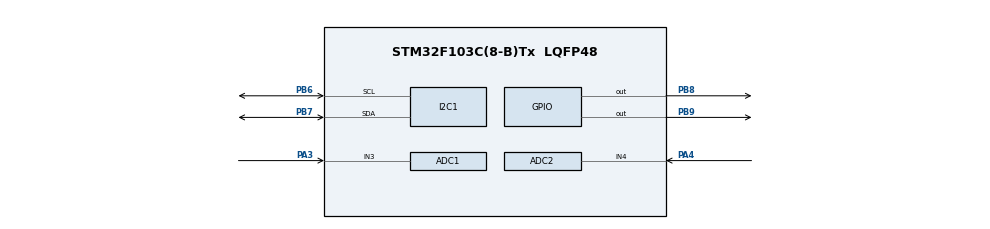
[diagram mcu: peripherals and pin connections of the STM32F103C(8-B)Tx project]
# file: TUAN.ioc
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ADC1.Channel-1\#ChannelRegularConversion=ADC_CHANNEL_3
ADC1.NbrOfConversionFlag=1
ADC1.Rank-1\#ChannelRegularConversion=1
ADC1.SamplingTime-1\#ChannelRegularConversion=ADC_SAMPLETIME_1CYCLE_5
ADC1.master=1
ADC2.Channel-0\#ChannelRegularConversion=ADC_CHANNEL_4
ADC2.NbrOfConversionFlag=1
ADC2.Rank-0\#ChannelRegularConversion=1
ADC2.SamplingTime-0\#ChannelRegularConversion=ADC_SAMPLETIME_1CYCLE_5
Mcu.Family=STM32F1
Mcu.Name=STM32F103C(8-B)Tx
Mcu.Package=LQFP48
NVIC.ADC1_2_IRQn=true\:0\:0\:false\:false\:true\:true\:true\:true
NVIC.PriorityGroup=NVIC_PRIORITYGROUP_4
PA13.Mode=Serial_Wire
PA13.Signal=SYS_JTMS-SWDIO
PA14.Mode=Serial_Wire
PA14.Signal=SYS_JTCK-SWCLK
PA3.Signal=ADCx_IN3
PA4.Signal=ADCx_IN4
PB6.Mode=I2C
PB6.Signal=I2C1_SCL
PB7.Mode=I2C
PB7.Signal=I2C1_SDA
PB8.Signal=GPIO_Output
PB9.Signal=GPIO_Output
PD0-OSC_IN.Mode=HSE-External-Oscillator
PD0-OSC_IN.Signal=RCC_OSC_IN
PD1-OSC_OUT.Mode=HSE-External-Oscillator
PD1-OSC_OUT.Signal=RCC_OSC_OUT
ProjectManager.HeapSize=0x200
ProjectManager.StackSize=0x400
ProjectManager.TargetToolchain=STM32CubeIDE
RCC.APB1Freq_Value=8000000
RCC.APB2Freq_Value=8000000
SH.ADCx_IN3.0=ADC1_IN3,IN3
SH.ADCx_IN4.0=ADC2_IN4,IN4
board=custom

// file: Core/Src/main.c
/* USER CODE BEGIN Header */
/**
  ******************************************************************************
  * @file           : main.c
  * @brief          : Main program body
  ******************************************************************************
  * @attention
  *
  * Copyright (c) 2023 STMicroelectronics.
  * All rights reserved.
  *
  * This software is licensed under terms that can be found in the LICENSE file
  * in the root directory of this software component.
  * If no LICENSE file comes with this software, it is provided AS-IS.
  *
  ******************************************************************************
  */
/* USER CODE END Header */
#include "main.h"

/* USER CODE BEGIN Includes */
#include "stdio.h"
#include "i2c-lcd.h"
#include "string.h"
/* USER CODE END Includes */

ADC_HandleTypeDef hadc1;
ADC_HandleTypeDef hadc2;

I2C_HandleTypeDef hi2c1;

void SystemClock_Config(void);
static void MX_GPIO_Init(void);
static void MX_ADC1_Init(void);
static void MX_I2C1_Init(void);
static void MX_ADC2_Init(void);

/* USER CODE BEGIN 0 */
float i,v,r,E,v2;
uint16_t value, value2;
/*void HAL_GPIO_EXTI_Callback(uint16_t GPIO_Pin)
{
	if(GPIO_Pin==GPIO_PIN_1)
	{
		HAL_UART_Transmit(&huart1,send_data2,sizeof(send_data),100);
	}
	}*/

/* USER CODE END 0 */

int main(void)
{

  /* MCU Configuration--------------------------------------------------------*/

  /* Reset of all peripherals, Initializes the Flash interface and the Systick. */
  HAL_Init();

  /* Configure the system clock */
  SystemClock_Config();

  /* Initialize all configured peripherals */
  MX_GPIO_Init();
  MX_ADC1_Init();
  MX_I2C1_Init();
  MX_ADC2_Init();
  /* USER CODE BEGIN 2 */
  uint16_t value;
  lcd_init();
  HAL_ADCEx_Calibration_Start(&hadc1);

  /* USER CODE END 2 */

  /* Infinite loop */
  while (1)
  {

    /* USER CODE BEGIN 3 */

	  HAL_ADC_Start(&hadc1);
	  HAL_ADC_PollForConversion(&hadc1,1000);
	  value = HAL_ADC_GetValue(&hadc1);
	  HAL_ADC_Start(&hadc2);
	  HAL_ADC_PollForConversion(&hadc2, 1000);
	  value2 = HAL_ADC_GetValue(&hadc2);
	  v2 = (value2/4096.0)*3.3;
	  v=(value/4096.0)*3.3;
	  i = 5.0/10000;
	  r = v/i;
	  E = pow(10,log(10000/r)/0.9)*10;
	  lcd_goto_XY(0,0);
	  char buffer[11];
	  sprintf(buffer,"%.2f",E);
	  lcd_send_string("Do sang: ");
	  lcd_goto_XY(0,9);
	  lcd_send_string(buffer);
	  lcd_goto_XY(1,0);
	  lcd_send_string("Mode: ");
	  if(E<40)
	  {
		  HAL_GPIO_WritePin(GPIOB, GPIO_PIN_8, GPIO_PIN_SET );
		  lcd_goto_XY(1,7);
		  lcd_send_string("ON ");
	  }
	  else {
		  HAL_GPIO_WritePin(GPIOB, GPIO_PIN_8, GPIO_PIN_RESET);
		  lcd_goto_XY(1,7);
		  lcd_send_string("OFF");
	  }
	  if(v2<1)
	  {
		  HAL_GPIO_WritePin(GPIOB,GPIO_PIN_9,GPIO_PIN_SET);
		  lcd_clear_display();
		  lcd_goto_XY(0,0);
		  lcd_send_string(" FIRE ALARM!");
	  }
	  else
	  {
		  HAL_GPIO_WritePin(GPIOB, GPIO_PIN_9, GPIO_PIN_RESET);
	  }
	  HAL_Delay(500);

  }
  /* USER CODE END 3 */
}

void SystemClock_Config(void)
{
  RCC_OscInitTypeDef RCC_OscInitStruct = {0};
  RCC_ClkInitTypeDef RCC_ClkInitStruct = {0};
  RCC_PeriphCLKInitTypeDef PeriphClkInit = {0};

  /** Initializes the RCC Oscillators according to the specified parameters
  * in the RCC_OscInitTypeDef structure.
  */
  RCC_OscInitStruct.OscillatorType = RCC_OSCILLATORTYPE_HSI;
  RCC_OscInitStruct.HSIState = RCC_HSI_ON;
  RCC_OscInitStruct.HSICalibrationValue = RCC_HSICALIBRATION_DEFAULT;
  RCC_OscInitStruct.PLL.PLLState = RCC_PLL_NONE;
  if (HAL_RCC_OscConfig(&RCC_OscInitStruct) != HAL_OK)
  {
    Error_Handler();
  }

  /** Initializes the CPU, AHB and APB buses clocks
  */
  RCC_ClkInitStruct.ClockType = RCC_CLOCKTYPE_HCLK|RCC_CLOCKTYPE_SYSCLK
                              |RCC_CLOCKTYPE_PCLK1|RCC_CLOCKTYPE_PCLK2;
  RCC_ClkInitStruct.SYSCLKSource = RCC_SYSCLKSOURCE_HSI;
  RCC_ClkInitStruct.AHBCLKDivider = RCC_SYSCLK_DIV1;
  RCC_ClkInitStruct.APB1CLKDivider = RCC_HCLK_DIV1;
  RCC_ClkInitStruct.APB2CLKDivider = RCC_HCLK_DIV1;

  if (HAL_RCC_ClockConfig(&RCC_ClkInitStruct, FLASH_LATENCY_0) != HAL_OK)
  {
    Error_Handler();
  }
  PeriphClkInit.PeriphClockSelection = RCC_PERIPHCLK_ADC;
  PeriphClkInit.AdcClockSelection = RCC_ADCPCLK2_DIV2;
  if (HAL_RCCEx_PeriphCLKConfig(&PeriphClkInit) != HAL_OK)
  {
    Error_Handler();
  }
}

static void MX_ADC1_Init(void)
{

  ADC_ChannelConfTypeDef sConfig = {0};

  /** Common config
  */
  hadc1.Instance = ADC1;
  hadc1.Init.ScanConvMode = ADC_SCAN_DISABLE;
  hadc1.Init.ContinuousConvMode = DISABLE;
  hadc1.Init.DiscontinuousConvMode = DISABLE;
  hadc1.Init.ExternalTrigConv = ADC_SOFTWARE_START;
  hadc1.Init.DataAlign = ADC_DATAALIGN_RIGHT;
  hadc1.Init.NbrOfConversion = 1;
  if (HAL_ADC_Init(&hadc1) != HAL_OK)
  {
    Error_Handler();
  }

  /** Configure Regular Channel
  */
  sConfig.Channel = ADC_CHANNEL_3;
  sConfig.Rank = ADC_REGULAR_RANK_1;
  sConfig.SamplingTime = ADC_SAMPLETIME_1CYCLE_5;
  if (HAL_ADC_ConfigChannel(&hadc1, &sConfig) != HAL_OK)
  {
    Error_Handler();
  }

}

static void MX_ADC2_Init(void)
{

  ADC_ChannelConfTypeDef sConfig = {0};

  /** Common config
  */
  hadc2.Instance = ADC2;
  hadc2.Init.ScanConvMode = ADC_SCAN_DISABLE;
  hadc2.Init.ContinuousConvMode = DISABLE;
  hadc2.Init.DiscontinuousConvMode = DISABLE;
  hadc2.Init.ExternalTrigConv = ADC_SOFTWARE_START;
  hadc2.Init.DataAlign = ADC_DATAALIGN_RIGHT;
  hadc2.Init.NbrOfConversion = 1;
  if (HAL_ADC_Init(&hadc2) != HAL_OK)
  {
    Error_Handler();
  }

  /** Configure Regular Channel
  */
  sConfig.Channel = ADC_CHANNEL_4;
  sConfig.Rank = ADC_REGULAR_RANK_1;
  sConfig.SamplingTime = ADC_SAMPLETIME_1CYCLE_5;
  if (HAL_ADC_ConfigChannel(&hadc2, &sConfig) != HAL_OK)
  {
    Error_Handler();
  }

}

static void MX_I2C1_Init(void)
{

  hi2c1.Instance = I2C1;
  hi2c1.Init.ClockSpeed = 100000;
  hi2c1.Init.DutyCycle = I2C_DUTYCYCLE_2;
  hi2c1.Init.OwnAddress1 = 0;
  hi2c1.Init.AddressingMode = I2C_ADDRESSINGMODE_7BIT;
  hi2c1.Init.DualAddressMode = I2C_DUALADDRESS_DISABLE;
  hi2c1.Init.OwnAddress2 = 0;
  hi2c1.Init.GeneralCallMode = I2C_GENERALCALL_DISABLE;
  hi2c1.Init.NoStretchMode = I2C_NOSTRETCH_DISABLE;
  if (HAL_I2C_Init(&hi2c1) != HAL_OK)
  {
    Error_Handler();
  }

}

static void MX_GPIO_Init(void)
{
  GPIO_InitTypeDef GPIO_InitStruct = {0};

  /* GPIO Ports Clock Enable */
  __HAL_RCC_GPIOD_CLK_ENABLE();
  __HAL_RCC_GPIOA_CLK_ENABLE();
  __HAL_RCC_GPIOB_CLK_ENABLE();

  /*Configure GPIO pin Output Level */
  HAL_GPIO_WritePin(GPIOB, GPIO_PIN_8|GPIO_PIN_9, GPIO_PIN_RESET);

  /*Configure GPIO pins : PB8 PB9 */
  GPIO_InitStruct.Pin = GPIO_PIN_8|GPIO_PIN_9;
  GPIO_InitStruct.Mode = GPIO_MODE_OUTPUT_PP;
  GPIO_InitStruct.Pull = GPIO_NOPULL;
  GPIO_InitStruct.Speed = GPIO_SPEED_FREQ_LOW;
  HAL_GPIO_Init(GPIOB, &GPIO_InitStruct);

}

void Error_Handler(void)
{
  __disable_irq();
  while (1)
  {
  }
}
